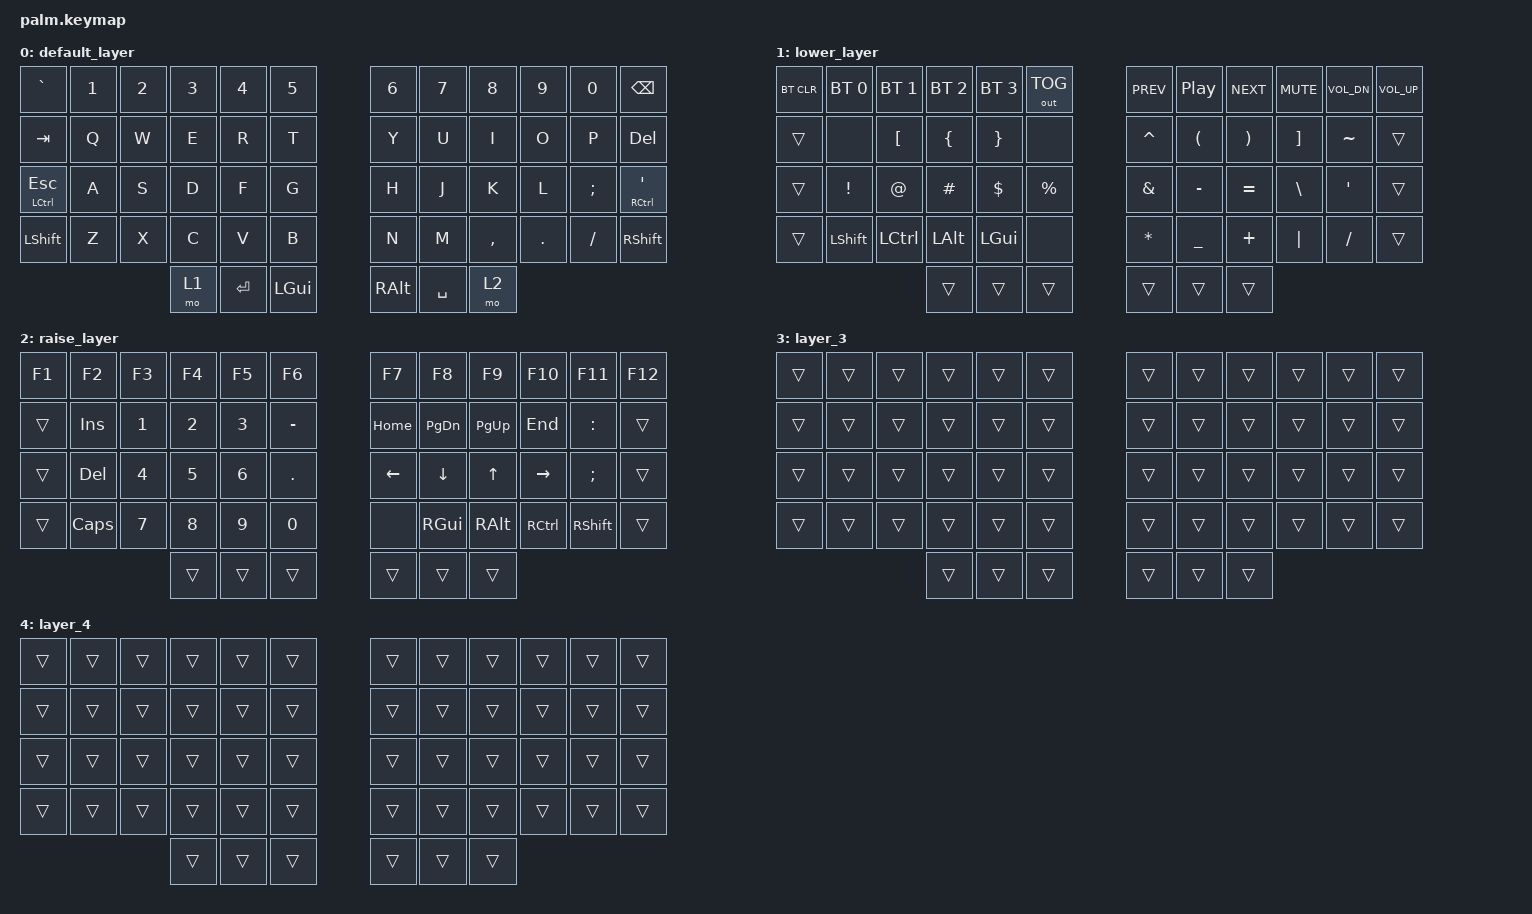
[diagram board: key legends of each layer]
/*
 * Copyright (c) 2020 The ZMK Contributors
 *
 * SPDX-License-Identifier: MIT
 */

#include <behaviors.dtsi>
#include <dt-bindings/zmk/bt.h>
#include <dt-bindings/zmk/keys.h>
#include <dt-bindings/zmk/outputs.h>

/ {
    keymap {
        compatible = "zmk,keymap";

        default_layer {
            // ------------------------------------------------------------------------------------------------------------
            // |  ESC  |  1  |  2  |  3   |  4   |  5   |                   |  6   |  7    |  8    |  9   |   0   |  BSPC |
            // |  TAB  |  Q  |  W  |  E   |  R   |  T   |                   |  Y   |  U    |  I    |  O   |   P   |  DEL  |
            // |  CTRL |  A  |  S  |  D   |  F   |  G   |                   |  H   |  J    |  K    |  L   |   ;   |   '   |
            // | SHIFT |  Z  |  X  |  C   |  V   |  B   |                   |  N   |  M    |  ,    |  .   |   /   | SHIFT |
            //                            | LOWER| ENTER|   GUI  |  |  ALT  |SPACE | RAISE |

            bindings = <
&kp GRAVE      &kp N1     &kp N2    &kp N3  &kp N4  &kp N5  &kp N6  &kp N7  &kp N8     &kp N9    &kp N0     &kp BSPC
&kp TAB        &kp Q      &kp W     &kp E   &kp R   &kp T   &kp Y   &kp U   &kp I      &kp O     &kp P      &kp DEL
&mt LCTRL ESC  &kp A      &kp S     &kp D   &kp F   &kp G   &kp H   &kp J   &kp K      &kp L     &kp SEMI   &mt RCTRL APOS
&kp LSHFT      &kp Z      &kp X     &kp C   &kp V   &kp B   &kp N   &kp M   &kp COMMA  &kp DOT   &kp FSLH   &kp RSHFT
&mo 1          &kp ENTER  &kp LGUI                                                     &kp RALT  &kp SPACE  &mo 2
            >;
        };

        lower_layer {
            // ------------------------------------------------------------------------------------------------------------
            // | BTCLR | BT1 | BT2 |  BT3 |  BT4 |  BT5 |                   |      |       |       |      |       |       |
            // |  F1   |  F2 |  F3 |  F4  |  F5  |  F6  |                   |  F7  |  F8   |  F9   |  F10 |  F11  |  F12  |
            // |   `   |  !  |  @  |  #   |  $   |  %   |                   |  ^   |  &    |  *    |  (   |   )   |   ~   |
            // |       |     |     |      |      |      |                   |      |  _    |  +    |  {   |   }   |  "|"  |
            //                            |      |      |        |  |       |      |       |

            bindings = <
&bt BT_CLR  &bt BT_SEL 0  &bt BT_SEL 1  &bt BT_SEL 2  &bt BT_SEL 3  &out OUT_TOG  &kp C_PREV  &kp C_PP   &kp C_NEXT  &kp C_MUTE  &kp C_VOL_DN  &kp C_VOL_UP
&trans      &none         &kp LBKT      &kp LBRC      &kp RBRC      &none         &kp CARET   &kp LPAR   &kp RPAR    &kp RBKT    &kp TILDE     &trans
&trans      &kp EXCL      &kp AT        &kp HASH      &kp DOLLAR    &kp PRCNT     &kp AMPS    &kp MINUS  &kp EQUAL   &kp BSLH    &kp APOS      &trans
&trans      &kp LSHFT     &kp LCTRL     &kp LALT      &kp LGUI      &none         &kp ASTRK   &kp UNDER  &kp PLUS    &kp PIPE    &kp SLASH     &trans
&trans      &trans        &trans                                                                                     &trans      &trans        &trans
            >;
        };

        raise_layer {
            // ------------------------------------------------------------------------------------------------------------
            // |       |     |     |      |      |      |                   |      |       |       |      |       |       |
            // |   `   |  1  |  2  |  3   |  4   |  5   |                   |  6   |   7   |   8   |  9   |   0   |       |
            // |   F1  |  F2 |  F3 |  F4  |  F5  |  F6  |                   |      |   <-  |   ^   |  v   |  ->   |       |
            // |   F7  |  F8 |  F9 |  F10 |  F11 |  F12 |                   |  +   |   -   |   =   |  [   |   ]   |   \   |
            //                            |      |      |        |  |       |      |       |

            bindings = <
&kp F1  &kp F2    &kp F3  &kp F4  &kp F5  &kp F6     &kp F7    &kp F8     &kp F9     &kp F10    &kp F11    &kp F12
&trans  &kp INS   &kp N1  &kp N2  &kp N3  &kp MINUS  &kp HOME  &kp PG_DN  &kp PG_UP  &kp END    &kp COLON  &trans
&trans  &kp DEL   &kp N4  &kp N5  &kp N6  &kp DOT    &kp LEFT  &kp DOWN   &kp UP     &kp RIGHT  &kp SEMI   &trans
&trans  &kp CAPS  &kp N7  &kp N8  &kp N9  &kp N0     &none     &kp RGUI   &kp RALT   &kp RCTRL  &kp RSHFT  &trans
&trans  &trans    &trans                                                             &trans     &trans     &trans
            >;
        };

        layer_3 {
            bindings = <
&trans  &trans  &trans  &trans  &trans  &trans  &trans  &trans  &trans  &trans  &trans  &trans
&trans  &trans  &trans  &trans  &trans  &trans  &trans  &trans  &trans  &trans  &trans  &trans
&trans  &trans  &trans  &trans  &trans  &trans  &trans  &trans  &trans  &trans  &trans  &trans
&trans  &trans  &trans  &trans  &trans  &trans  &trans  &trans  &trans  &trans  &trans  &trans
&trans  &trans  &trans                                                  &trans  &trans  &trans
            >;
        };

        layer_4 {
            bindings = <
&trans  &trans  &trans  &trans  &trans  &trans  &trans  &trans  &trans  &trans  &trans  &trans
&trans  &trans  &trans  &trans  &trans  &trans  &trans  &trans  &trans  &trans  &trans  &trans
&trans  &trans  &trans  &trans  &trans  &trans  &trans  &trans  &trans  &trans  &trans  &trans
&trans  &trans  &trans  &trans  &trans  &trans  &trans  &trans  &trans  &trans  &trans  &trans
&trans  &trans  &trans                                                  &trans  &trans  &trans
            >;
        };
    };
};
